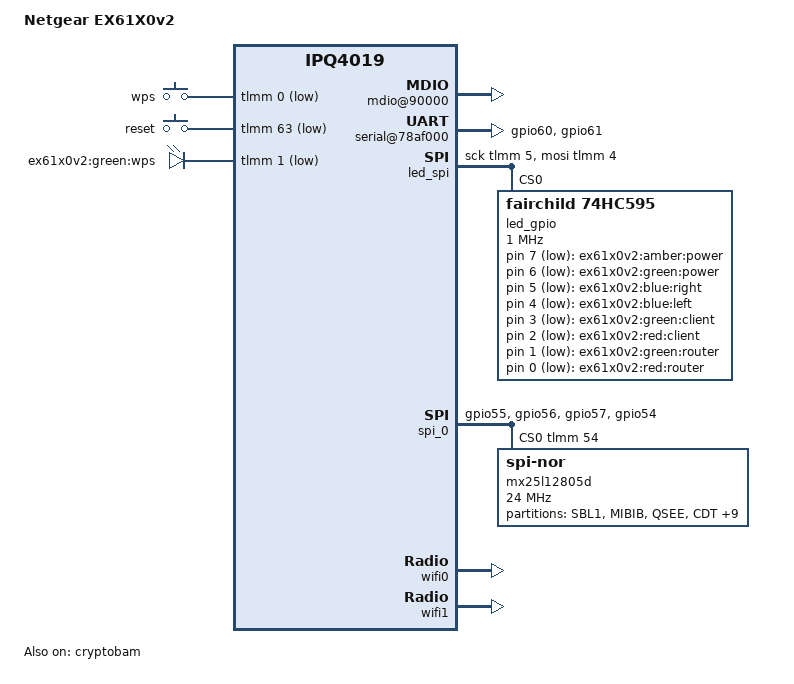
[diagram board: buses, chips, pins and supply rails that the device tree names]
/* Copyright (c) 2015, The Linux Foundation. All rights reserved.
 * Copyright (c) 2018, David Bauer <mail@david-bauer.net>
 *
 * Permission to use, copy, modify, and/or distribute this software for any
 * purpose with or without fee is hereby granted, provided that the above
 * copyright notice and this permission notice appear in all copies.
 *
 * THE SOFTWARE IS PROVIDED "AS IS" AND THE AUTHOR DISCLAIMS ALL WARRANTIES
 * WITH REGARD TO THIS SOFTWARE INCLUDING ALL IMPLIED WARRANTIES OF
 * MERCHANTABILITY AND FITNESS. IN NO EVENT SHALL THE AUTHOR BE LIABLE FOR
 * ANY SPECIAL, DIRECT, INDIRECT, OR CONSEQUENTIAL DAMAGES OR ANY DAMAGES
 * WHATSOEVER RESULTING FROM LOSS OF USE, DATA OR PROFITS, WHETHER IN AN
 * ACTION OF CONTRACT, NEGLIGENCE OR OTHER TORTIOUS ACTION, ARISING OUT OF
 * OR IN CONNECTION WITH THE USE OR PERFORMANCE OF THIS SOFTWARE.
 *
 */

#include "qcom-ipq4019.dtsi"
#include "qcom-ipq4019-bus.dtsi"
#include <dt-bindings/gpio/gpio.h>
#include <dt-bindings/input/input.h>
#include <dt-bindings/soc/qcom,tcsr.h>

/ {
	model = "Netgear EX61X0v2";
	compatible = "netgear,ex61x0v2", "qcom,ipq4019";

	soc {
		mdio@90000 {
			status = "okay";
		};

		ess-psgmii@98000 {
			status = "okay";
		};

		tcsr@1949000 {
			compatible = "qcom,tcsr";
			reg = <0x1949000 0x100>;
			qcom,wifi_glb_cfg = <TCSR_WIFI_GLB_CFG>;
		};

		ess_tcsr@1953000 {
			compatible = "qcom,tcsr";
			reg = <0x1953000 0x1000>;
			qcom,ess-interface-select = <TCSR_ESS_PSGMII>;
		};

		tcsr@1957000 {
			compatible = "qcom,tcsr";
			reg = <0x1957000 0x100>;
			qcom,wifi_noc_memtype_m0_m2 = <TCSR_WIFI_NOC_MEMTYPE_M0_M2>;
		};

		serial@78af000 {
			pinctrl-0 = <&serial_pins>;
			pinctrl-names = "default";
			status = "okay";
		};

		crypto@8e3a000 {
			status = "okay";
		};

		watchdog@b017000 {
			status = "okay";
		};

		ess-switch@c000000 {
			status = "okay";
		};

		edma@c080000 {
			status = "okay";
			qcom,num_gmac = <1>;
		};
	};

	aliases {
		led-boot = &power_amber;
		led-failsafe = &power_amber;
		led-running = &power_green;
		led-upgrade = &power_amber;
	};

	gpio-keys {
		compatible = "gpio-keys";

		wps {
			label = "wps";
			gpios = <&tlmm 0 GPIO_ACTIVE_LOW>;
			linux,code = <KEY_WPS_BUTTON>;
		};

		reset {
			label = "reset";
			gpios = <&tlmm 63 GPIO_ACTIVE_LOW>;
			linux,code = <KEY_RESTART>;
		};
	};

	led_spi {
		compatible = "spi-gpio";
		#address-cells = <1>;
		ranges;

		gpio-sck = <&tlmm 5 GPIO_ACTIVE_HIGH>;
		gpio-mosi = <&tlmm 4 GPIO_ACTIVE_HIGH>;
		num-chipselects = <0>;

		led_gpio: led_gpio@0 {
			compatible = "fairchild,74hc595";
			reg = <0>;
			gpio-controller;
			#gpio-cells = <2>;
			registers-number = <1>;
			spi-max-frequency = <1000000>;
		};
	};

	gpio-leds {
		compatible = "gpio-leds";

		power_amber: power_amber {
			label = "ex61x0v2:amber:power";
			gpios = <&led_gpio 7 GPIO_ACTIVE_LOW>;
		};

		power_green: power_green {
			label = "ex61x0v2:green:power";
			gpios = <&led_gpio 6 GPIO_ACTIVE_LOW>;
		};

		right {
			label = "ex61x0v2:blue:right";
			gpios = <&led_gpio 5 GPIO_ACTIVE_LOW>;
		};

		left {
			label = "ex61x0v2:blue:left";
			gpios = <&led_gpio 4 GPIO_ACTIVE_LOW>;
		};

		client_green {
			label = "ex61x0v2:green:client";
			gpios = <&led_gpio 3 GPIO_ACTIVE_LOW>;
		};

		client_red {
			label = "ex61x0v2:red:client";
			gpios = <&led_gpio 2 GPIO_ACTIVE_LOW>;
		};

		router_green {
			label = "ex61x0v2:green:router";
			gpios = <&led_gpio 1 GPIO_ACTIVE_LOW>;
		};

		router_red {
			label = "ex61x0v2:red:router";
			gpios = <&led_gpio 0 GPIO_ACTIVE_LOW>;
		};

		wps {
			label = "ex61x0v2:green:wps";
			gpios = <&tlmm 1 GPIO_ACTIVE_LOW>;
		};
	};
};

&tlmm {
	serial_pins: serial_pinmux {
		mux {
			pins = "gpio60", "gpio61";
			function = "blsp_uart0";
			bias-disable;
		};
	};

	spi_0_pins: spi_0_pinmux {
		pin {
			function = "blsp_spi0";
			pins = "gpio55", "gpio56", "gpio57";
			drive-strength = <12>;
			bias-disable;
		};
		pin_cs {
			function = "gpio";
			pins = "gpio54";
			drive-strength = <2>;
			bias-disable;
			output-high;
		};
	};
};

&spi_0 {
	pinctrl-0 = <&spi_0_pins>;
	pinctrl-names = "default";
	status = "okay";
	cs-gpios = <&tlmm 54 GPIO_ACTIVE_HIGH>;

	mx25l12805d@0 {
		compatible = "jedec,spi-nor";
		reg = <0>;
		spi-max-frequency = <24000000>;

		partitions {
			compatible = "fixed-partitions";
			#address-cells = <1>;
			#size-cells = <1>;

			partition0@0 {
				label = "SBL1";
				reg = <0x00000000 0x00040000>;
				read-only;
			};

			partition1@40000 {
				label = "MIBIB";
				reg = <0x00040000 0x00020000>;
				read-only;
			};

			partition2@60000 {
				label = "QSEE";
				reg = <0x00060000 0x00060000>;
				read-only;
			};

			partition3@c0000 {
				label = "CDT";
				reg = <0x000c0000 0x00010000>;
				read-only;
			};

			partition4@d0000 {
				label = "DDRPARAMS";
				reg = <0x000d0000 0x00010000>;
				read-only;
			};

			partition5@E0000 {
				label = "APPSBLENV";
				reg = <0x000e0000 0x00010000>;
				read-only;
			};

			partition6@F0000 {
				label = "APPSBL";
				reg = <0x000f0000 0x00080000>;
				read-only;
			};

			partition7@170000 {
				label = "ART";
				reg = <0x00170000 0x00010000>;
				read-only;
			};

			partition8@180000 {
				label = "config";
				reg = <0x00180000 0x00010000>;
				read-only;
			};

			partition9@190000 {
				label = "pot";
				reg = <0x00190000 0x00010000>;
				read-only;
			};

			partition10@1a0000 {
				label = "dnidata";
				reg = <0x001a0000 0x00010000>;
				read-only;
			};

			partition11@1b0000 {
				label = "firmware";
				reg = <0x001b0000 0x00e10000>;
			};

			partition12@fc0000 {
				label = "language";
				reg = <0x00fc0000 0x00040000>;
				read-only;
			};
		};
	};
};

&blsp_dma {
	status = "okay";
};

&cryptobam {
	status = "okay";
};

&wifi0 {
	status = "okay";
};

&wifi1 {
	status = "okay";
};
